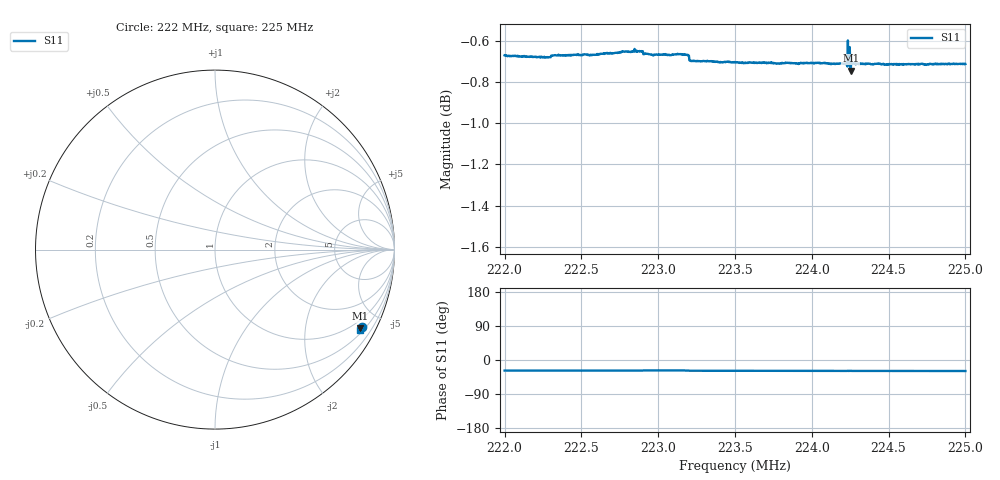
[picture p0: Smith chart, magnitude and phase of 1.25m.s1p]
! Calibrated averaged scanner-service zoom
# Hz S RI R 50
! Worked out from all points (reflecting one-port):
!   1001 points, 222 MHz to 225 MHz, reference 50 ohm
!   lowest |S11| = -0.7 dB at 224.25 MHz (marker M1), VSWR 23.37, Z = 34.1 - j190 ohm
!   phase of S11 starts at -28 deg and turns -1 deg over the sweep
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2.22e8  0.8184 -0.4329
2.22285e8  0.8167 -0.4339
2.22318e8  0.8179 -0.4337
2.22375e8  0.818 -0.4338
2.22567e8  0.8176 -0.4344
2.22618e8  0.8183 -0.4341
2.2275e8  0.8191 -0.4345
2.22885e8  0.8194 -0.4354
2.22918e8  0.8227 -0.4264
2.22963e8  0.8224 -0.4255
2.23068e8  0.8225 -0.4257
2.23125e8  0.8217 -0.4281
2.23185e8  0.8193 -0.4317
2.23218e8  0.8123 -0.4381
2.235e8  0.8108 -0.4397
2.23875e8  0.8092 -0.4414
2.2404e8  0.8089 -0.4423
2.24217e8  0.8078 -0.4435
2.2422e8  0.8076 -0.4435
2.24229e8  0.8076 -0.4436
2.24232e8  0.8062 -0.4434
2.2425e8  0.8077 -0.4438
2.24253e8  0.806 -0.4393
2.24262e8  0.8076 -0.4438
2.24265e8  0.8075 -0.4439
2.24268e8  0.8076 -0.4439
2.24625e8  0.8064 -0.4454
2.25e8  0.8052 -0.4477
